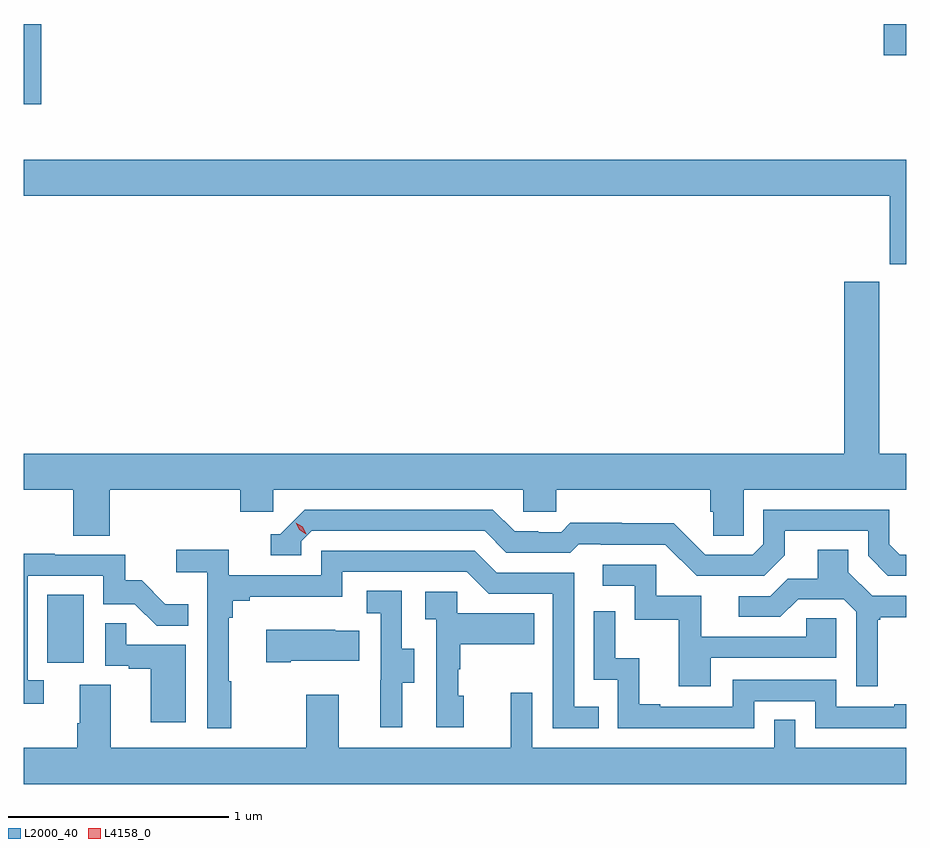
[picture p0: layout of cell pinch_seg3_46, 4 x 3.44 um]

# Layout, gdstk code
import gdstk
lib = gdstk.Library(unit=1e-6, precision=1e-09)
def R(c, l, rs):  # rectangles x0, y0, x1, y1
    for r in rs: c.add(gdstk.rectangle(r[:2], r[2:], *l))
def P(c, l, *ps):  # polygons
    for p in ps: c.add(gdstk.Polygon(p, *l))
L2000_40 = (2000, 40)
L4158_0 = (4158, 0)

pinch_seg3_46 = lib.new_cell('pinch_seg3_46')
R(pinch_seg3_46, L2000_40, [(1080.182,732.102,1080.346,732.409), (1080.074,734.631,1080.155,734.995), (1083.972,734.854,1084.074,734.995)])
P(pinch_seg3_46, L2000_40, [(1084.074,734.38),(1080.074,734.38),(1080.074,734.216),(1083.998,734.216),(1083.998,733.907),(1084.074,733.907)],
  [(1080.074,732.884),(1080.299,732.884),(1080.299,732.676),(1080.464,732.676),(1080.464,732.884),(1081.055,732.884),(1081.055,732.786),(1081.206,732.786),(1081.206,732.884),(1082.337,732.884),(1082.337,732.786),(1082.487,732.786),(1082.487,732.884),(1083.185,732.884),(1083.185,732.786),(1083.199,732.786),(1083.199,732.676),(1083.336,732.676),(1083.336,732.884),(1084.074,732.884),(1084.074,733.048),(1083.951,733.048),(1083.951,733.828),(1083.791,733.828),(1083.791,733.048),(1080.074,733.048)],
  [(1083.523,732.589),(1083.523,732.699),(1083.9,732.699),(1083.9,732.585),(1083.99,732.495),(1084.074,732.495),(1084.074,732.591),(1084.044,732.591),(1083.996,732.639),(1083.996,732.795),(1083.426,732.795),(1083.426,732.639),(1083.378,732.591),(1083.162,732.591),(1083.02,732.733),(1082.784,732.733),(1082.784,732.736),(1082.551,732.736),(1082.509,732.693),(1082.406,732.693),(1082.406,732.696),(1082.299,732.696),(1082.2,732.795),(1081.347,732.795),(1081.236,732.684),(1081.193,732.684),(1081.193,732.588),(1081.332,732.588),(1081.332,732.651),(1081.38,732.699),(1082.163,732.699),(1082.262,732.6),(1082.551,732.6),(1082.59,732.639),(1082.689,732.639),(1082.689,732.636),(1082.982,732.636),(1083.123,732.495),(1083.429,732.495)],
  [(1083.943,732.297),(1083.955,732.297),(1083.955,732.308),(1084.074,732.308),(1084.074,732.405),(1083.918,732.405),(1083.811,732.512),(1083.811,732.614),(1083.671,732.614),(1083.671,732.482),(1083.536,732.482),(1083.456,732.402),(1083.315,732.402),(1083.315,732.309),(1083.502,732.309),(1083.583,732.39),(1083.789,732.39),(1083.846,732.333),(1083.846,731.994),(1083.943,731.994)],
  [(1081.015,732.017),(1081.003,732.017),(1081.003,732.305),(1081.022,732.305),(1081.022,732.382),(1081.099,732.382),(1081.099,732.401),(1081.518,732.401),(1081.518,732.513),(1082.082,732.513),(1082.181,732.414),(1082.472,732.414),(1082.472,731.805),(1082.681,731.805),(1082.681,731.901),(1082.568,731.901),(1082.568,732.51),(1082.218,732.51),(1082.119,732.609),(1081.422,732.609),(1081.422,732.498),(1081.004,732.498),(1081.004,732.614),(1080.765,732.614),(1080.765,732.512),(1080.906,732.512),(1080.906,731.805),(1081.015,731.805)],
  [(1080.166,732.021),(1080.093,732.021),(1080.093,732.495),(1080.435,732.495),(1080.435,732.366),(1080.579,732.366),(1080.677,732.268),(1080.821,732.268),(1080.821,732.367),(1080.717,732.367),(1080.61,732.474),(1080.534,732.474),(1080.534,732.591),(1080.215,732.591),(1080.215,732.596),(1080.074,732.596),(1080.074,731.916),(1080.166,731.916)],
  [(1083.187,732.123),(1083.756,732.123),(1083.756,732.303),(1083.619,732.303),(1083.619,732.219),(1083.145,732.219),(1083.145,732.405),(1082.94,732.405),(1082.94,732.546),(1082.697,732.546),(1082.697,732.45),(1082.844,732.45),(1082.844,732.297),(1083.043,732.297),(1083.043,731.994),(1083.187,731.994)],
  [(1081.789,732.01),(1081.843,732.01),(1081.843,732.165),(1081.788,732.165),(1081.788,732.428),(1081.629,732.428),(1081.629,732.325),(1081.692,732.325),(1081.692,732.021),(1081.691,732.021),(1081.691,731.808),(1081.789,731.808)],
  [(1082.068,731.952),(1082.043,731.952),(1082.043,732.071),(1082.053,732.071),(1082.053,732.185),(1082.387,732.185),(1082.387,732.325),(1082.04,732.325),(1082.04,732.423),(1081.893,732.423),(1081.893,732.299),(1081.944,732.299),(1081.944,731.808),(1082.068,731.808)],
  [(1083.384,731.928),(1083.66,731.928),(1083.66,731.805),(1084.074,731.805),(1084.074,731.914),(1084.019,731.914),(1084.019,731.901),(1083.756,731.901),(1083.756,732.024),(1083.288,732.024),(1083.288,731.901),(1082.959,731.901),(1082.959,731.914),(1082.864,731.914),(1082.864,732.122),(1082.754,732.122),(1082.754,732.334),(1082.658,732.334),(1082.658,732.024),(1082.766,732.024),(1082.766,731.805),(1083.384,731.805)],
  [(1080.808,732.183),(1080.539,732.183),(1080.539,732.281),(1080.444,732.281),(1080.444,732.087),(1080.551,732.087),(1080.551,732.075),(1080.65,732.075),(1080.65,731.832),(1080.808,731.832)],
  [(1081.285,732.11),(1081.595,732.11),(1081.595,732.247),(1081.487,732.247),(1081.487,732.25),(1081.173,732.25),(1081.173,732.103),(1081.285,732.103)],
  [(1084.074,731.716),(1083.57,731.716),(1083.57,731.843),(1083.474,731.843),(1083.474,731.716),(1082.379,731.716),(1082.379,731.965),(1082.282,731.965),(1082.282,731.716),(1081.501,731.716),(1081.501,731.956),(1081.354,731.956),(1081.354,731.716),(1080.469,731.716),(1080.469,732.002),(1080.329,732.002),(1080.329,731.828),(1080.317,731.828),(1080.317,731.716),(1080.074,731.716),(1080.074,731.552),(1084.074,731.552)])
P(pinch_seg3_46, L4158_0, [(1081.354,732.684),(1081.324,732.703),(1081.308,732.736),(1081.308,732.736),(1081.308,732.736),(1081.339,732.717),(1081.355,732.684),(1081.355,732.684)])

lib.write_gds('pinch_seg3_46.gds')
